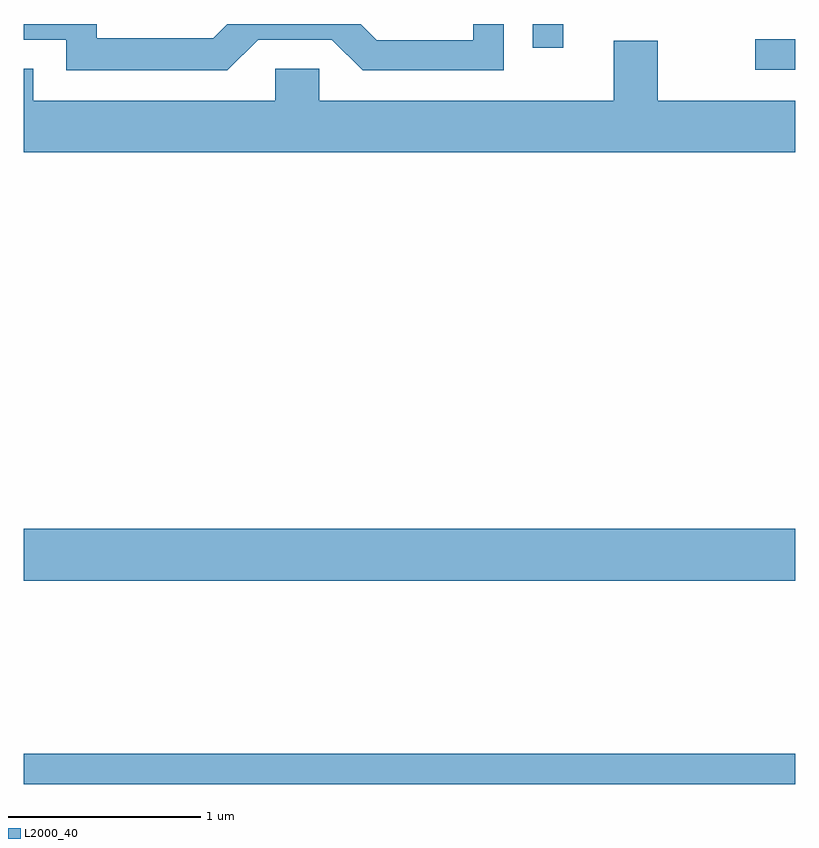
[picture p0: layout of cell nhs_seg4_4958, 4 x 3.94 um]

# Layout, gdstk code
import gdstk
lib = gdstk.Library(unit=1e-6, precision=1e-09)
def R(c, l, rs):  # rectangles x0, y0, x1, y1
    for r in rs: c.add(gdstk.rectangle(r[:2], r[2:], *l))
def P(c, l, *ps):  # polygons
    for p in ps: c.add(gdstk.Polygon(p, *l))
L2000_40 = (2000, 40)

nhs_seg4_4958 = lib.new_cell('nhs_seg4_4958')
R(nhs_seg4_4958, L2000_40, [(329.611,1378.041,333.611,1378.199), (329.611,1379.096,333.611,1379.364), (333.403,1381.746,333.611,1381.904), (332.251,1381.858,332.409,1381.982)])
P(nhs_seg4_4958, L2000_40, [(330.827,1381.901),(331.209,1381.901),(331.369,1381.741),(332.099,1381.741),(332.099,1381.982),(331.941,1381.982),(331.941,1381.899),(331.442,1381.899),(331.359,1381.982),(330.667,1381.982),(330.594,1381.909),(329.989,1381.909),(329.989,1381.982),(329.611,1381.982),(329.611,1381.901),(329.831,1381.901),(329.831,1381.741),(330.667,1381.741)],
  [(333.611,1381.584),(332.899,1381.584),(332.899,1381.894),(332.671,1381.894),(332.671,1381.584),(331.144,1381.584),(331.144,1381.749),(330.916,1381.749),(330.916,1381.584),(329.659,1381.584),(329.659,1381.749),(329.611,1381.749),(329.611,1381.316),(333.611,1381.316)])

lib.write_gds('nhs_seg4_4958.gds')
